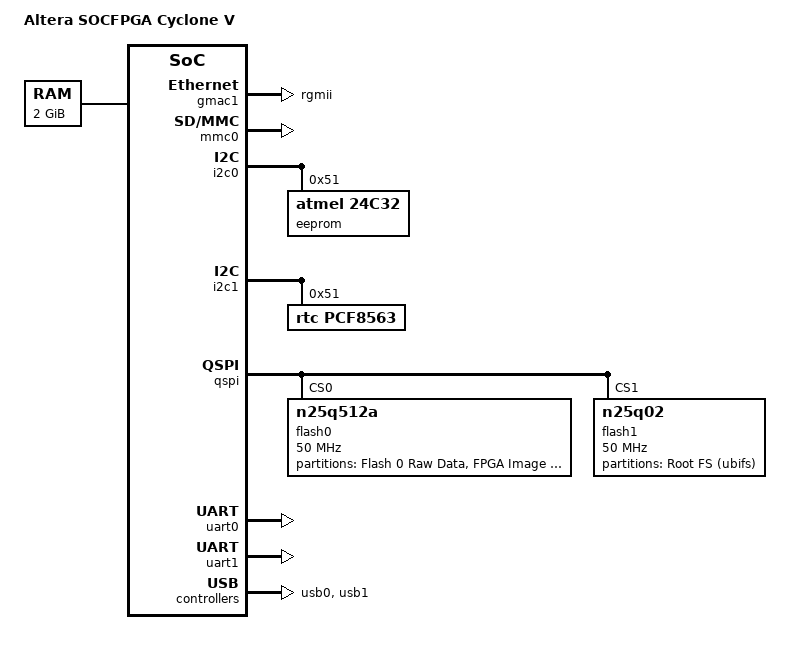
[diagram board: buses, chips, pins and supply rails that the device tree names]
/*
 * Copyright Altera Corporation (C) 2012,2014. All rights reserved.
 *
 * This program is free software; you can redistribute it and/or modify
 * it under the terms and conditions of the GNU General Public License,
 * version 2, as published by the Free Software Foundation.
 *
 * This program is distributed in the hope it will be useful, but WITHOUT
 * ANY WARRANTY; without even the implied warranty of MERCHANTABILITY or
 * FITNESS FOR A PARTICULAR PURPOSE.  See the GNU General Public License for
 * more details.
 *
 * You should have received a copy of the GNU General Public License along with
 * this program.  If not, see <http://www.gnu.org/licenses/>.
 */

#include "socfpga_cyclone5.dtsi"

/ {
	model = "Altera SOCFPGA Cyclone V";	
	compatible = "altr,socfpga-cyclone5", "altr,socfpga";

    chosen {
        bootargs = "earlyprintk";
        stdout-path = "serial0:115200n8";
    }; 

	memory {
        name = "memory";
        device_type = "memory";
        reg = <0x00000000 0x80000000>;
	}; //end memory

	aliases {
		serial0 = &uart0;
		serial1 = &uart1;
		ethernet0 = &gmac1;
	}; //end aliases

	clocks {
		#address-cells = <1>;
		#size-cells = <1>;

		clk_0: clk_0 {
			compatible = "fixed-clock";
			#clock-cells = <0>;
			clock-frequency = <60000000>;	/* 60.00 MHz */
			clock-output-names = "clk_0-clk";
		}; //end clk_0 (clk_0)

		Caldera_FPGA_IO_HPS_CLK: Caldera_FPGA_IO_HPS_CLK {
			compatible = "fixed-clock";
			#clock-cells = <0>;
			clock-frequency = <60000000>;	/* 60.00 MHz */
			clock-output-names = "Caldera_FPGA_IO_HPS_CLK-clk";
		}; //end Caldera_FPGA_IO_HPS_CLK (Caldera_FPGA_IO_HPS_CLK)

	}; //end clocks

    Caldera_FPGA_IO_alt_vip_vfr_0: vip@0x100044000 {
        compatible = "ALTR,vip-frame-reader-14.0", "ALTR,vip-frame-reader-9.1";
        reg = <0xff244000 0x00000080>;
        interrupt-parent = <&intc>;
        interrupts = <0 46 4>;
        clocks = <&Caldera_FPGA_IO_HPS_CLK &Caldera_FPGA_IO_HPS_CLK>;
        clock-names = "clock_reset", "clock_master";
        max-width = <480>;  /* MAX_IMAGE_WIDTH type NUMBER */
        max-height = <272>; /* MAX_IMAGE_HEIGHT type NUMBER */
        bits-per-color = <8>;   /* BITS_PER_PIXEL_PER_COLOR_PLANE type NUMBER */
        colors-per-beat = <4>;  /* NUMBER_OF_CHANNELS_IN_PARALLEL type NUMBER */
        beats-per-pixel = <1>;  /* NUMBER_OF_CHANNELS_IN_SEQUENCE type NUMBER */
        mem-word-width = <128>; /* MEM_PORT_WIDTH type NUMBER */
    }; //end vip@0x100044000 (Caldera_FPGA_IO_alt_vip_vfr_0)
};

&gmac1 {
    status = "okay";
    phy-mode = "rgmii";
    snps,phy-addr = < 0xFFFFFFFF >;
    phy-addr = < 0xFFFFFFFF >;

    rxd0-skew-ps = <0>;
    rxd1-skew-ps = <0>;
    rxd2-skew-ps = <0>;
    rxd3-skew-ps = <0>;
    txen-skew-ps = <0>;
    txc-skew-ps = <3000>;
    rxdv-skew-ps = <0>;
    rxc-skew-ps = <3000>;
    max-frame-size = <3800>;
};

&mmc0 {
    status = "okay";
};

&i2c0 {
    status = "okay";
    speed-mode = <0>;

    eeprom@51 {
        compatible = "atmel,24c32";
        reg = <0x51>;
        pagesize = <32>;
    };
};

&i2c1 {
    status = "okay";
    speed-mode = <0>;

    rtc@51 {
        compatible = "rtc,pcf8563";
        reg = <0x51>;
    };
};

&qspi {
    status = "okay";
    flash0: n25q512a@0 {
        compatible = "n25q512a";	/* appended from boardinfo */
        reg = <0>;	/* appended from boardinfo */
        spi-max-frequency = <50000000>;	/* appended from boardinfo */

        cdns,page-size = <256>;	/* appended from boardinfo */
        cdns,block-size = <16>;	/* appended from boardinfo */
        cdns,read-delay = <4>;	/* appended from boardinfo */
        cdns,tshsl-ns = <50>;	/* appended from boardinfo */
        cdns,tsd2d-ns = <50>;	/* appended from boardinfo */
        cdns,tchsh-ns = <4>;	/* appended from boardinfo */
        cdns,tslch-ns = <4>;	/* appended from boardinfo */
        cdns,is-decoded-cs = <0>;

	    part0: partition@0 {
	        label = "Flash 0 Raw Data";	/* appended from boardinfo */
	        reg = <0x00000000 0x00800000>;	/* appended from boardinfo */
	    }; //end partition@0 (part0)

	    part1: partition@800000 {
	        label = "FPGA Image";	/* appended from boardinfo */
	        reg = <0x00800000 0x00600000>;	/* appended from boardinfo */
	    }; //end partition@800000 (part1)

	    part2: partition@0e00000 {
	        label = "Splash Screen Image";	/* appended from boardinfo */
	        reg = <0x00e00000 0x00200000>;	/* appended from boardinfo */
	    }; //end partition@3800000 (part2)

	    part3: partition@1000000 {
	        label = "Aux FS Image";	/* appended from boardinfo */
	        reg = <0x01000000 0x03000000>;	/* appended from boardinfo */
	    }; //end partition@3e00000 (part3)
	}; //end n25q512a@0 (flash0)

	flash1: n25q02@1 {
        #address-cells = <1>;	/* appended from boardinfo */
        #size-cells = <1>;	/* appended from boardinfo */
        compatible = "n25q02";	/* appended from boardinfo */
        reg = <1>;	/* Chip Select */
        spi-max-frequency = <50000000>;	/* appended from boardinfo */
        cdns,page-size = <256>;	/* appended from boardinfo */
        cdns,block-size = <16>;	/* appended from boardinfo */
        cdns,read-delay = <4>;	/* appended from boardinfo */
        cdns,tshsl-ns = <50>;	/* appended from boardinfo */
        cdns,tsd2d-ns = <50>;	/* appended from boardinfo */
        cdns,tchsh-ns = <4>;	/* appended from boardinfo */
        cdns,tslch-ns = <4>;	/* appended from boardinfo */

        part4: partition@0 {
            label = "Root FS (ubifs)";	/* appended from boardinfo */
            reg = <0x00000000 0x10000000>;	/* appended from boardinfo */
        }; //end partition@0 (part4)
    }; //end n25q02@1 (flash1)
}; //end flash@0xff705000 (hps_0_qspi)

&uart0 {
    status = "okay";
};

&uart1 {
    status = "okay";
};

&usb0 {
    status = "okay";
};

&usb1 {
    status = "okay";
};

